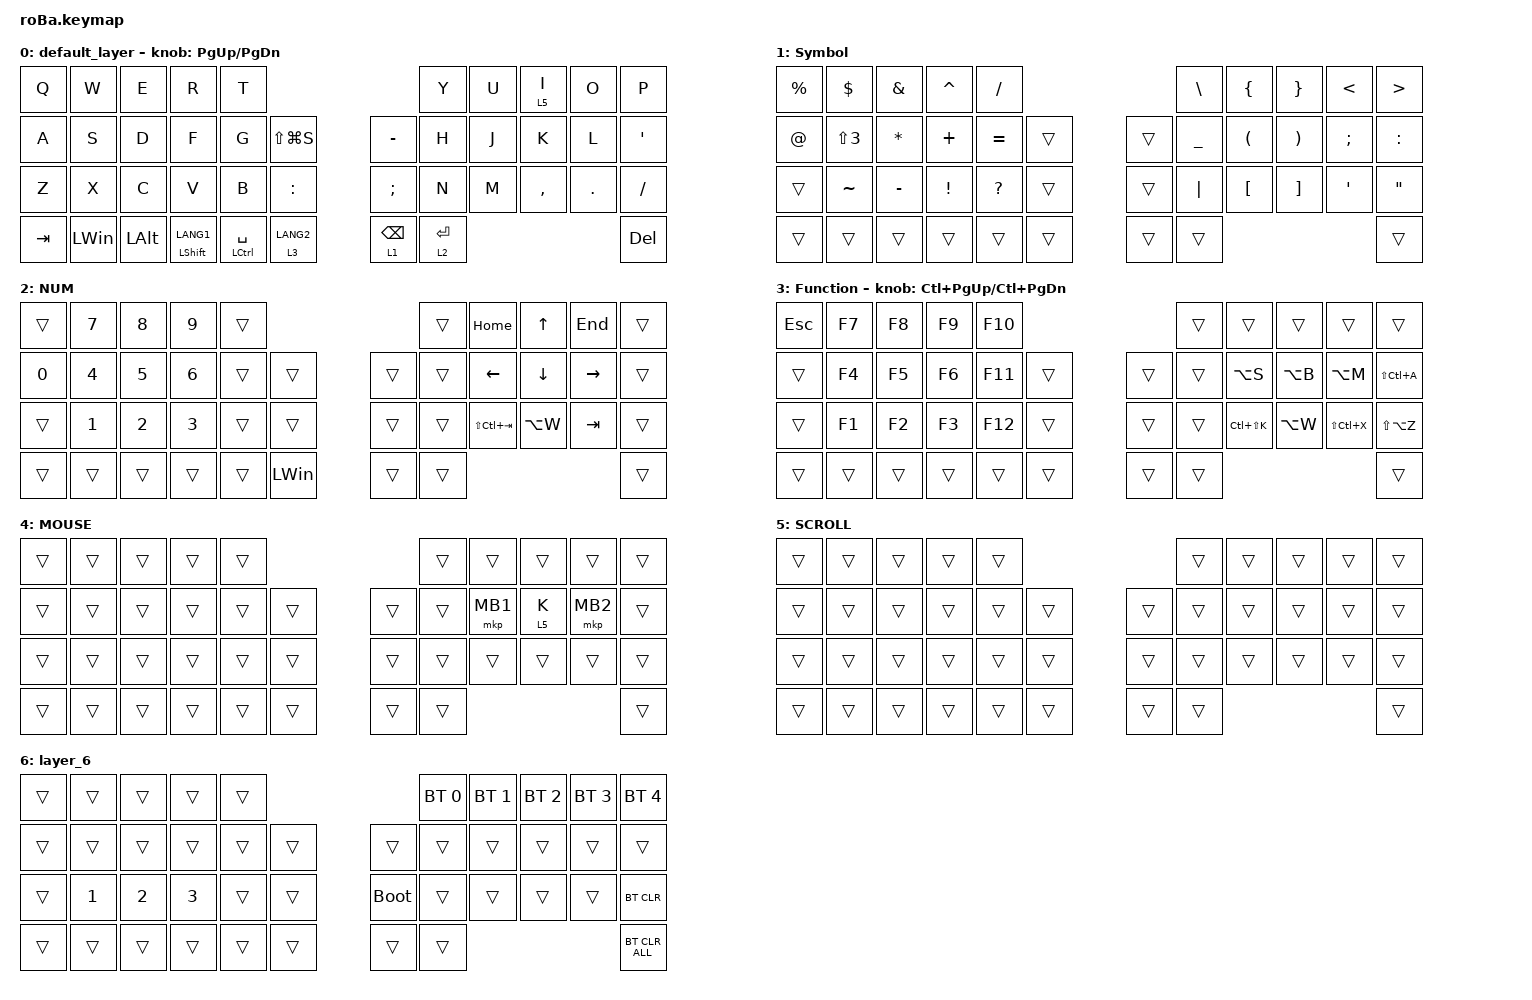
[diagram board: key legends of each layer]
#include <input/processors.dtsi>
#include <behaviors.dtsi>
#include <dt-bindings/zmk/bt.h>
#include <dt-bindings/zmk/keys.h>
#include <dt-bindings/zmk/pointing.h>

#define MOUSE 4
#define SCROLL 5
#define NUM 6

&mkp_input_listener { input-processors = <&zip_temp_layer 5 10000>; };

&mt {
    flavor = "balanced";
    quick-tap-ms = <0>;
};

/ {
    combos {
        compatible = "zmk,combos";

        tab {
            bindings = <&kp TAB>;
            key-positions = <11 12>;
        };

        shift_tab {
            bindings = <&kp LS(TAB)>;
            key-positions = <12 13>;
        };

        muhennkann {
            bindings = <&to_layer_0 INT_MUHENKAN>;
            key-positions = <11 10>;
        };

        double_quotation {
            bindings = <&kp DOUBLE_QUOTES>;
            key-positions = <20 21>;
        };

        eq {
            bindings = <&kp EQUAL>;
            key-positions = <24 25>;
        };

        bluetouth {
            bindings = <&lt_to_layer_0 6 A>;
            key-positions = <39 40>;
        };
    };

    macros {
        to_layer_0: to_layer_0 {
            compatible = "zmk,behavior-macro-one-param";
            #binding-cells = <1>;
            bindings = <&to 0 &macro_param_1to1 &kp MACRO_PLACEHOLDER>;
            label = "TO_LAYER_0";
        };
    };

    behaviors {
        lt_to_layer_0: lt_to_layer_0 {
            compatible = "zmk,behavior-hold-tap";
            label = "LAYER_TAP_TO_0";
            bindings = <&mo>, <&to_layer_0>;

            #binding-cells = <2>;
            tapping-term-ms = <200>;
        };
    };

    keymap {
        compatible = "zmk,keymap";

        default_layer {
            bindings = <
&kp Q    &kp W         &kp E         &kp R                 &kp T                                                                    &kp Y                   &kp U  &lt 5 I    &kp O    &kp P
&kp A    &kp S         &kp D         &kp F                 &kp G            &kp LS(LG(S))               &kp MINUS                   &kp H                   &kp J  &kp K      &kp L    &kp SQT
&kp Z    &kp X         &kp C         &kp V                 &kp B            &kp COLON                   &kp SEMICOLON               &kp N                   &kp M  &kp COMMA  &kp DOT  &kp SLASH
&kp TAB  &kp LEFT_WIN  &kp LEFT_ALT  &mt LEFT_SHIFT LANG1  &mt LCTRL SPACE  &lt_to_layer_0 3 LANG2      &lt_to_layer_0 1 BACKSPACE  &lt_to_layer_0 2 ENTER                             &kp DEL
            >;

            sensor-bindings = <&inc_dec_kp PG_UP PAGE_DOWN>;
        };

        Symbol {
            bindings = <
&kp PERCENT  &kp DOLLAR        &kp AMPERSAND  &kp CARET        &kp SLASH                         &kp BACKSLASH   &kp LEFT_BRACE        &kp RIGHT_BRACE        &kp LESS_THAN  &kp GREATER_THAN
&kp AT       &kp LS(NUMBER_3)  &kp ASTERISK   &kp PLUS         &kp EQUAL     &trans      &trans  &kp UNDERSCORE  &kp LEFT_PARENTHESIS  &kp RIGHT_PARENTHESIS  &kp SEMICOLON  &kp COLON
&trans       &kp TILDE         &kp MINUS      &kp EXCLAMATION  &kp QUESTION  &trans      &trans  &kp PIPE        &kp LEFT_BRACKET      &kp RIGHT_BRACKET      &kp SQT        &kp DOUBLE_QUOTES
&trans       &trans            &trans         &trans           &trans        &trans      &trans  &trans                                                                      &trans
            >;
        };

        NUM {
            bindings = <
&trans        &kp N7        &kp N8        &kp N9        &trans                            &trans  &kp HOME         &kp UP_ARROW    &kp END          &trans
&kp NUMBER_0  &kp NUMBER_4  &kp N5        &kp NUMBER_6  &trans  &trans            &trans  &trans  &kp LEFT_ARROW   &kp DOWN_ARROW  &kp RIGHT_ARROW  &trans
&trans        &kp NUMBER_1  &kp NUMBER_2  &kp NUMBER_3  &trans  &trans            &trans  &trans  &kp LS(LC(TAB))  &kp LA(W)       &kp TAB          &trans
&trans        &trans        &trans        &trans        &trans  &kp LEFT_WIN      &trans  &trans                                                    &trans
            >;
        };

        Function {
            bindings = <
&kp ESCAPE  &kp F7  &kp F8  &kp F9  &kp F10                      &trans  &trans         &trans     &trans         &trans
&trans      &kp F4  &kp F5  &kp F6  &kp F11  &trans      &trans  &trans  &kp LA(S)      &kp LA(B)  &kp LA(M)      &kp LS(LC(A))
&trans      &kp F1  &kp F2  &kp F3  &kp F12  &trans      &trans  &trans  &kp LC(LS(K))  &kp LA(W)  &kp LS(LC(X))  &kp LS(LA(Z))
&trans      &trans  &trans  &trans  &trans   &trans      &trans  &trans                                           &trans
            >;

            sensor-bindings = <&inc_dec_kp LC(PAGE_UP) LC(PAGE_DOWN)>;
        };

        MOUSE {
            bindings = <
&trans  &trans  &trans  &trans  &trans                      &trans  &trans    &trans              &trans    &trans
&trans  &trans  &trans  &trans  &trans  &trans      &trans  &trans  &mkp MB1  &lt_to_layer_0 5 K  &mkp MB2  &trans
&trans  &trans  &trans  &trans  &trans  &trans      &trans  &trans  &trans    &trans              &trans    &trans
&trans  &trans  &trans  &trans  &trans  &trans      &trans  &trans                                          &trans
            >;
        };

        SCROLL {
            bindings = <
&trans  &trans  &trans  &trans  &trans                      &trans  &trans  &trans  &trans  &trans
&trans  &trans  &trans  &trans  &trans  &trans      &trans  &trans  &trans  &trans  &trans  &trans
&trans  &trans  &trans  &trans  &trans  &trans      &trans  &trans  &trans  &trans  &trans  &trans
&trans  &trans  &trans  &trans  &trans  &trans      &trans  &trans                          &trans
            >;
        };

        layer_6 {
            bindings = <
&trans  &trans        &trans        &trans        &trans                           &bt BT_SEL 0  &bt BT_SEL 1  &bt BT_SEL 2  &bt BT_SEL 3  &bt BT_SEL 4
&trans  &trans        &trans        &trans        &trans  &trans      &trans       &trans        &trans        &trans        &trans        &trans
&trans  &kp NUMBER_1  &kp NUMBER_2  &kp NUMBER_3  &trans  &trans      &bootloader  &trans        &trans        &trans        &trans        &bt BT_CLR
&trans  &trans        &trans        &trans        &trans  &trans      &trans       &trans                                                  &bt BT_CLR_ALL
            >;
        };
    };
};
